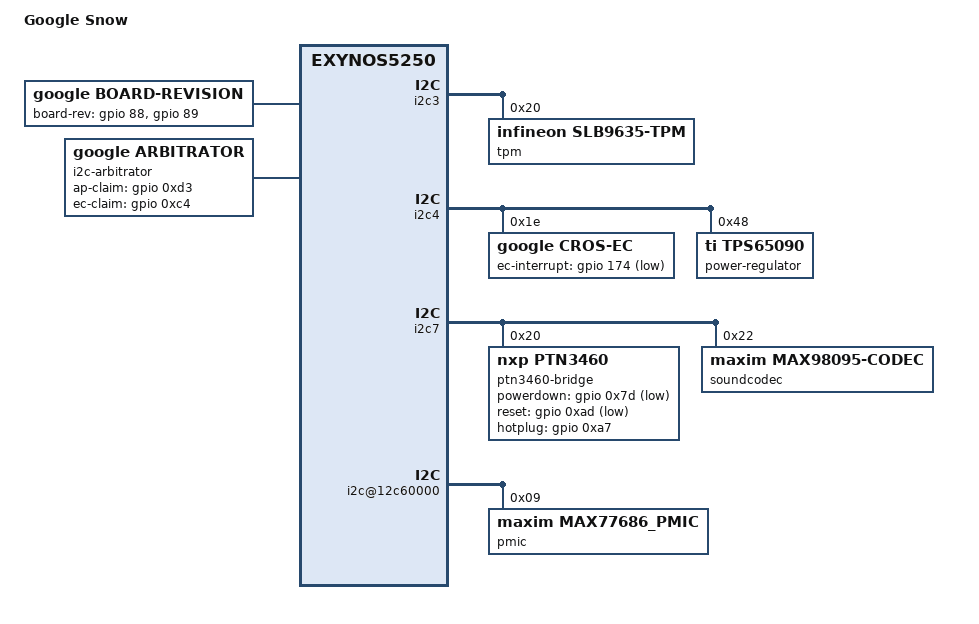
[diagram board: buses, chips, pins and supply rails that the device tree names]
/*
 * SAMSUNG Snow board device tree source
 *
 * Copyright (c) 2012 Samsung Electronics Co., Ltd.
 *		http://www.samsung.com
 *
 * This program is free software; you can redistribute it and/or modify
 * it under the terms of the GNU General Public License version 2 as
 * published by the Free Software Foundation.
*/

/dts-v1/;
/include/ "exynos5250.dtsi"
/include/ "flashmap-exynos-ro.dtsi"
/include/ "flashmap-4mb-rw.dtsi"
/include/ "chromeos-exynos.dtsi"
/include/ "cros5250-common.dtsi"

/ {
	model = "Google Snow";
	compatible = "google,snow", "samsung,exynos5250";

	aliases {
		i2c0 = "/i2c@12c60000";
		i2c1 = "/i2c@12c70000";
		i2c2 = "/i2c@12c80000";
		i2c3 = "/i2c@12c90000";
		i2c4 = "/i2c@12ca0000";
		i2c5 = "/i2c@12cb0000";
		i2c6 = "/i2c@12cc0000";
		i2c7 = "/i2c@12cd0000";
		spi0 = "/spi@12d20000";
		spi1 = "/spi@12d30000";
		spi2 = "/spi@12d40000";
		spi3 = "/spi@131a0000";
		spi4 = "/spi@131b0000";
		mmc0 = "/mmc@12200000";
		mmc1 = "/mmc@12210000";
		mmc2 = "/mmc@12220000";
		mmc3 = "/mmc@12230000";
	};

	board-rev {
		compatible = "google,board-revision";
		google,board-rev-gpios = <&gpio 88 0>, <&gpio 89 0>;
	};

	i2c-arbitrator {
		compatible = "google,arbitrator";
		google,ap-claim-gpios = <&gpio 0xd3 0>;	/* F03 */
		google,ec-claim-gpios = <&gpio 0xc4 0>;	/* E04 */
		google,slew-delay-us = <10>;
		google,wait-retry-us = <2000>;

		/*
		 * TODO)sjg@chromium.org): Reduce to 50ms when EC I2C host
		 * driver bugs are fixed.
		 */
		google,wait-free-us = <500000>;
		google,arbitrate-bus = <&i2c4>;
	};

	dmc@10C00000 {
		mem-manuf = "elpida";
	};

	i2c3: i2c@12c90000 {
		tpm@20 {
			reg = <0x20>;
			compatible = "infineon,slb9635-tpm";
		};
	};

	i2c4: i2c@12ca0000 {
		cros-ec@1e {
			reg = <0x1e>;
			compatible = "google,cros-ec";
			i2c-max-frequency = <100000>;
			ec-interrupt = <&gpio 174 1>;
		};

		power-regulator@48 {
			compatible = "ti,tps65090";
			reg = <0x48>;
		};
	};

	i2c7: i2c@12cd0000 {
		ptn3460-bridge@20 {
			compatible = "nxp,ptn3460";
			reg = <0x20>;
			powerdown-gpio = <&gpio 0x7d 1>;	/* Y25 */
			reset-gpio = <&gpio 0xad 1>;		/* X15 */
			hotplug-gpio = <&gpio 0xa7 0>;		/* X07 */
		};
	};

	spi@131b0000 {
		spi-max-frequency = <1000000>;
		spi-deactivate-delay = <100>;
		mkbp@0 {
			reg = <0>;
			compatible = "google,mkbp";
			spi-max-frequency = <5000000>;
			ec-interrupt = <&gpio 174 1>;
			optimise-flash-write;
			status = "disabled";
		};
	};

	mmc@12200000 {
		samsung,bus-width = <8>;
		samsung,timing = <1 3 3>;
		samsung,removable = <0>;
	};

	mmc@12210000 {
		status = "disabled";
	};

	mmc@12220000 {
		samsung,bus-width = <4>;
		samsung,timing = <1 2 3>;
		samsung,removable = <1>;
	};

	mmc@12230000 {
		status = "disabled";
	};

	chrome-ec {
		compatible = "google,chrome-ec";
		#address-cells = <1>;
		#size-cells = <1>;
		flash@8000000 {
			reg = <0x08000000 0x20000>;
			erase-value = <0xff>;
		};
	};

	dp@145b0000 {
		samsung,interface = "edp";
	};

	ehci@12110000 {
		port-enable-mask = <0x01>;
	};

	sound@12d60000 {
		samsung,codec-type = "max98095";
	};

	i2c@12cd0000 {
		soundcodec@22 {
			reg = <0x22>;
			compatible = "maxim,max98095-codec";
		};
	};

	i2c@12c60000 {
		pmic@9 {
			reg = <0x9>;
			compatible = "maxim,max77686_pmic";
		};
	};
	usb@12000000 {
		usb3-pll-gpio = <&gpio 0x71 0>;	/* Y11 */
	};
};
